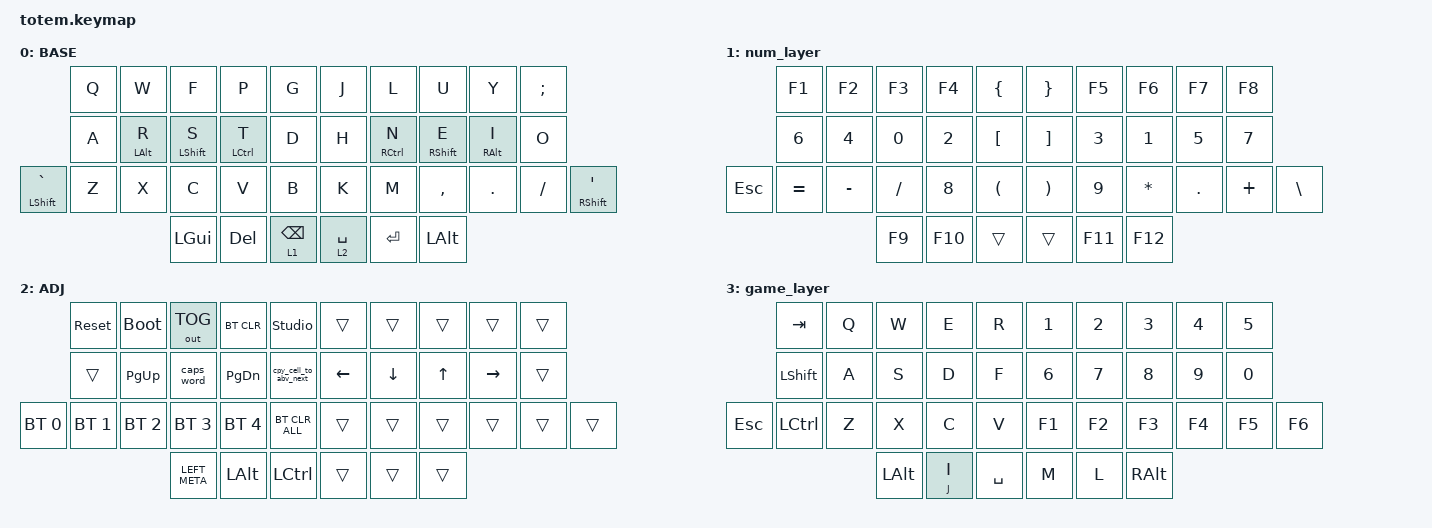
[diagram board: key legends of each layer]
//
//                                                        ▀▀▀▀▀     ▀▀▀▀▀          ▀▀█▀▀
//                                                        ▄▀▀▀▄  ▄  ▄▀▀▀▄  ▄  ▄▀▀▀▄  █  ▄▀▀▀▄
//                                                        █   █  █  █   █  █  █   █  █  █   █
//                                                         ▀▀▀   █   ▀▀▀   █   ▀▀▀   ▀   ▀▀▀
//                                                               █      ▄▄▄█▄▄▄    █   █  
//                                                               ▀      █  █  █     █▄█
//                                                             ▀▀▀▀▀    █  █  █      ▀
//                                                                      ▀  ▀  ▀
//
// ▄▄▄▄▄▄▄▄▄▄▄▄▄▄▄▄▄▄▄▄▄▄▄▄▄▄▄▄▄▄▄▄▄▄▄▄▄▄▄▄▄▄▄▄▄▄▄▄▄▄▄▄▄▄▄▄▄▄▄▄▄▄▄▄▄▄▄▄▄▄▄▄▄▄▄▄▄▄▄▄▄▄▄▄▄▄▄▄▄▄▄▄▄▄▄▄▄▄▄▄▄▄▄▄▄▄▄▄▄▄▄▄▄▄▄▄▄▄▄▄▄▄▄▄▄▄▄▄▄▄▄▄▄▄▄▄▄▄▄▄▄▄▄▄▄▄▄▄▄

#include <behaviors.dtsi>
#include <dt-bindings/zmk/bt.h>
#include <dt-bindings/zmk/keys.h>
#include <dt-bindings/zmk/outputs.h>

#define BASE 0
#define NAV  1
#define SYM  2
#define ADJ  3
#define L4   4
#define L5   5
#define L6   6

&mt {
    quick-tap-ms = <100>;
    flavor = "tap-preferred";
    tapping-term-ms = <150>;
};

/ {
    combos {
        compatible = "zmk,combos";

        combo_esc {
            timeout-ms = <50>;
            key-positions = <0 1>;
            bindings = <&kp ESC>;
            layers = <0 1>;
        };

        tab_comboL {
            bindings = <&kp TAB>;
            key-positions = <11 12>;
            layers = <0 1>;
        };

        tab_comboR {
            bindings = <&kp TAB>;
            key-positions = <17 18>;
            layers = <0 1>;
        };

        game_layer_toggle {
            bindings = <&tog 2>;
            key-positions = <32 37>;
            layers = <0 3>;
        };

        bace_combo {
            bindings = <&brace_block>;
            key-positions = <4 5>;
            timeout-ms = <30>;
            layers = <0>;
        };

        bracket_combo {
            bindings = <&bracket_block>;
            key-positions = <14 15>;
            layers = <0>;
            timeout-ms = <30>;
        };

        parenth_block {
            bindings = <&parenth_block>;
            key-positions = <25 26>;
            timeout-ms = <30>;
            layers = <0>;
        };

        base_1 {
            bindings = <&kp NUMBER_1>;
            key-positions = <0 10>;
            layers = <0>;
        };

        base_2 {
            bindings = <&kp NUMBER_2>;
            key-positions = <1 11>;
            layers = <0>;
        };

        base_3 {
            bindings = <&kp NUMBER_3>;
            key-positions = <2 12>;
            layers = <0>;
        };

        base_4 {
            bindings = <&kp NUMBER_4>;
            key-positions = <3 13>;
            layers = <0>;
        };

        base_5 {
            bindings = <&kp NUMBER_5>;
            key-positions = <14 4>;
            layers = <0>;
        };

        base_6 {
            bindings = <&kp NUMBER_6>;
            key-positions = <5 15>;
            layers = <0>;
        };

        base_7 {
            bindings = <&kp NUMBER_7>;
            key-positions = <6 16>;
            layers = <0>;
        };

        base_8 {
            bindings = <&kp NUMBER_8>;
            key-positions = <7 17>;
            layers = <0>;
        };

        base_9 {
            bindings = <&kp NUMBER_9>;
            key-positions = <18 8>;
            layers = <0>;
        };

        base_0 {
            bindings = <&kp NUMBER_0>;
            key-positions = <19 9>;
            layers = <0>;
        };

        base_copy {
            bindings = <&kp LC(C)>;
            key-positions = <10 11>;
            layers = <0>;
            require-prior-idle-ms = <100>;
            timeout-ms = <30>;
        };

        base_paste {
            bindings = <&kp LC(V)>;
            key-positions = <0 11>;
            layers = <0>;
            require-prior-idle-ms = <100>;
        };

        base_cut {
            bindings = <&kp LC(X)>;
            key-positions = <11 21>;
            layers = <0>;
            require-prior-idle-ms = <100>;
        };

        base_undo {
            bindings = <&kp LC(Z)>;
            key-positions = <22 23>;
            layers = <0>;
        };

        base_redo {
            bindings = <&kp LC(Y)>;
            key-positions = <22 24>;
            layers = <0>;
        };

        spreadsheet_del_col {
            bindings = <&spreadsheet_del_col>;
            key-positions = <15 26>;
            layers = <0>;
        };

        spreadsheet_del_row {
            bindings = <&spreadsheet_del_row>;
            key-positions = <26 27>;
            layers = <0>;
        };

        spreadsheet_ins_col {
            bindings = <&spreadsheet_ins_col>;
            key-positions = <16 27>;
            layers = <0>;
        };

        spreadsheet_ins_row {
            bindings = <&spreadsheet_ins_row>;
            key-positions = <27 28>;
            layers = <0>;
        };

        spreadsheet_hide_col {
            bindings = <&kp LC(NUMBER_0)>;
            key-positions = <17 28>;
            layers = <0>;
        };

        spreadsheet_hide_row {
            bindings = <&kp LC(N9)>;
            key-positions = <28 29>;
            layers = <0>;
        };

        base_hyphen {
            bindings = <&kp MINUS>;
            key-positions = <8 9>;
        };
    };

    macros {
        gif: gif {
            label = "giphy";
            compatible = "zmk,behavior-macro";
            #binding-cells = <0>;
            bindings =
                <&macro_press>,
                <&kp LSHFT>,
                <&macro_tap>,
                <&kp N2>,
                <&macro_release>,
                <&kp LSHFT>,
                <&macro_tap>,
                <&kp G &kp I &kp F>;
        };

        cpy_cell_to_abv_next: copy_cell_to_above_next {
            compatible = "zmk,behavior-macro";
            #binding-cells = <0>;
            bindings =
                <&macro_tap>,
                <&kp LC(C) &kp UP_ARROW &kp LC(V) &kp RIGHT &kp DOWN>;

            label = "COPY_CELL_TO_ABOVE_NEXT";
        };

        parenth_block: auto_parenth {
            compatible = "zmk,behavior-macro";
            #binding-cells = <0>;
            bindings =
                <&macro_tap>,
                <&kp LEFT_PARENTHESIS &kp RIGHT_PARENTHESIS &kp LEFT>;

            label = "AUTO_PARENTH";
        };

        bracket_block: bracket_block {
            compatible = "zmk,behavior-macro";
            #binding-cells = <0>;
            bindings =
                <&macro_tap>,
                <&kp LEFT_BRACKET &kp RIGHT_BRACKET &kp LEFT>;

            label = "BRACKET_BLOCK";
        };

        brace_block: brace_block {
            compatible = "zmk,behavior-macro";
            #binding-cells = <0>;
            bindings = <&macro_tap>, <&kp LEFT_BRACE &kp RIGHT_BRACE &kp LEFT>;

            label = "BRACE_BLOCK";
        };

        spreadsheet_del_col: spreadsheet_del_col {
            compatible = "zmk,behavior-macro";
            #binding-cells = <0>;
            bindings =
                <&macro_press>,
                <&kp LEFT_CONTROL>,
                <&macro_tap>,
                <&kp SPACE &kp MINUS>,
                <&macro_release>,
                <&kp LEFT_CONTROL>;

            label = "SPREADSHEET_DEL_COL";
        };

        spreadsheet_del_row: spreadsheet_del_row {
            compatible = "zmk,behavior-macro";
            #binding-cells = <0>;
            bindings =
                <&macro_press>,
                <&kp LEFT_SHIFT>,
                <&macro_tap>,
                <&kp SPACE &kp MINUS>,
                <&macro_release>,
                <&kp LEFT_SHIFT>;

            label = "SPREADSHEET_DEL_ROW";
        };

        spreadsheet_ins_col: spreadsheet_ins_col {
            compatible = "zmk,behavior-macro";
            #binding-cells = <0>;
            bindings =
                <&macro_press>,
                <&kp LEFT_CONTROL>,
                <&macro_tap>,
                <&kp SPACE &kp PLUS>,
                <&macro_release>,
                <&kp LEFT_CONTROL>;

            label = "SPREADSHEET_INS_COL";
        };

        spreadsheet_ins_row: spreadsheet_ins_row {
            compatible = "zmk,behavior-macro";
            #binding-cells = <0>;
            bindings =
                <&macro_press>,
                <&kp LEFT_SHIFT>,
                <&macro_tap>,
                <&kp SPACE &kp PLUS>,
                <&macro_release>,
                <&kp LEFT_SHIFT>;

            label = "SPREADSHEET_INS_ROW";
        };
    };

    keymap {
        compatible = "zmk,keymap";

        // ▄▄▄▄▄▄▄▄▄▄▄▄▄▄▄▄▄▄▄▄▄▄▄▄▄▄▄▄▄▄▄▄▄▄▄▄▄▄▄▄▄▄▄▄▄▄▄▄▄▄▄▄▄▄▄▄▄▄▄▄▄▄▄▄▄▄▄▄▄▄▄▄▄▄▄▄▄▄▄▄▄▄▄▄▄▄▄▄▄▄▄▄▄▄▄▄▄▄▄▄▄▄▄▄▄▄▄▄▄▄▄▄▄▄▄▄▄▄▄▄▄▄▄▄▄▄▄▄▄▄▄▄▄▄▄▄▄▄▄▄▄▄▄▄▄▄▄▄▄

        base_layer {
            // ┏━━━━━━━━━━━━━━━━━━━━━━━━━━━━━━━━━━━━━━━┓

            label = "BASE";

            // ┗━━━━━━━━━━━━━━━━━━━━━━━━━━━━━━━━━━━━━━━┛
            //             ┏━━━━━━━━━━━┳━━━━━━━━━━━┳━━━━━━━━━━━┳━━━━━━━━━━━┳━━━━━━━━━━━┓   ┏━━━━━━━━━━━┳━━━━━━━━━━━┳━━━━━━━━━━━┳━━━━━━━━━━━┳━━━━━━━━━━━┓
            //             ┃     Q     ┃     W     ┃     F     ┃     P     ┃     G     ┃   ┃     J     ┃     L     ┃     U     ┃     Y     ┃     ;     ┃
            //             ┣━━━━━━━━━━━╋━━━━━━━━━━━╋━━━━━━━━━━━╋━━━━━━━━━━━╋━━━━━━━━━━━┫   ┣━━━━━━━━━━━╋━━━━━━━━━━━╋━━━━━━━━━━━╋━━━━━━━━━━━╋━━━━━━━━━━━┫
            //             ┃     A     ┃     R     ┃     S     ┃     T     ┃     D     ┃   ┃     H     ┃     N     ┃     E     ┃     I     ┃     O     ┃
            // ┏━━━━━━━━━━━╋━━━━━━━━━━━╋━━━━━━━━━━━╋━━━━━━━━━━━╋━━━━━━━━━━━╋━━━━━━━━━━━┫   ┣━━━━━━━━━━━╋━━━━━━━━━━━╋━━━━━━━━━━━╋━━━━━━━━━━━╋━━━━━━━━━━━╋━━━━━━━━━━━┓
            // ┃           ┃     Z     ┃     X     ┃     C     ┃     V     ┃     B     ┃   ┃     K     ┃     M     ┃     ,     ┃     .     ┃     /     ┃           ┃
            // ┗━━━━━━━━━━━┻━━━━━━━━━━━┻━━━━━━━━━━━╋━━━━━━━━━━━╋━━━━━━━━━━━╋━━━━━━━━━━━┫   ┣━━━━━━━━━━━╋━━━━━━━━━━━╋━━━━━━━━━━━╋━━━━━━━━━━━┻━━━━━━━━━━━┻━━━━━━━━━━━┛
            //                                     ┃           ┃    TAB    ┃    SPC    ┃   ┃   ENTER   ┃   BSPC    ┃           ┃
            //                                     ┗━━━━━━━━━━━┻━━━━━━━━━━━┻━━━━━━━━━━━┛   ┗━━━━━━━━━━━┻━━━━━━━━━━━┻━━━━━━━━━━━┛

            bindings = <
                      &kp Q  &kp W       &kp F             &kp P        &kp G              &kp J        &kp L        &kp U         &kp Y       &kp SEMICOLON
                      &kp A  &mt LALT R  &mt LEFT_SHIFT S  &mt LCTRL T  &kp D              &kp H        &mt RCTRL N  &mt RSHIFT E  &mt RALT I  &kp O
&mt LEFT_SHIFT GRAVE  &kp Z  &kp X       &kp C             &kp V        &kp B              &kp K        &kp M        &kp COMMA     &kp DOT     &kp SLASH      &mt RSHIFT APOSTROPHE
                                         &kp LEFT_GUI      &kp DELETE   &lt 1 BACKSPACE    &lt 2 SPACE  &kp RETURN   &kp LEFT_ALT
            >;
        };

        num_layer {
            bindings = <
         &kp F1     &kp F2     &kp F3    &kp F4   &kp LEFT_BRACE          &kp RIGHT_BRACE        &kp F5   &kp F6        &kp F7   &kp F8
         &kp N6     &kp N4     &kp N0    &kp N2   &kp LEFT_BRACKET        &kp RIGHT_BRACKET      &kp N3   &kp N1        &kp N5   &kp N7
&kp ESC  &kp EQUAL  &kp MINUS  &kp FSLH  &kp N8   &kp LEFT_PARENTHESIS    &kp RIGHT_PARENTHESIS  &kp N9   &kp ASTERISK  &kp DOT  &kp PLUS  &kp BSLH
                               &kp F9    &kp F10  &trans                  &trans                 &kp F11  &kp F12
            >;
        };

        adjust_layer {
            // ┏━━━━━━━━━━━━━━━━━━━━━━━━━━━━━━━━━━━━━━━┓

            label = "ADJ";

            // ┗━━━━━━━━━━━━━━━━━━━━━━━━━━━━━━━━━━━━━━━┛
            //             ┏━━━━━━━━━━━┳━━━━━━━━━━━┳━━━━━━━━━━━┳━━━━━━━━━━━┳━━━━━━━━━━━┓   ┏━━━━━━━━━━━┳━━━━━━━━━━━┳━━━━━━━━━━━┳━━━━━━━━━━━┳━━━━━━━━━━━┓
            //             ┃   RESET   ┃ BT CLEAR  ┃  OUT TOG  ┃           ┃  STUDIO   ┃   ┃           ┃    F7     ┃    F8     ┃    F9     ┃    F12    ┃
            //             ┣━━━━━━━━━━━╋━━━━━━━━━━━╋━━━━━━━━━━━╋━━━━━━━━━━━╋━━━━━━━━━━━┫   ┣━━━━━━━━━━━╋━━━━━━━━━━━╋━━━━━━━━━━━╋━━━━━━━━━━━╋━━━━━━━━━━━┫
            //             ┃ BOOTLOAD  ┃ BT NEXT   ┃           ┃           ┃           ┃   ┃           ┃    F4     ┃    F5     ┃    F6     ┃    F11    ┃
            // ┏━━━━━━━━━━━╋━━━━━━━━━━━╋━━━━━━━━━━━╋━━━━━━━━━━━╋━━━━━━━━━━━╋━━━━━━━━━━━┫   ┣━━━━━━━━━━━╋━━━━━━━━━━━╋━━━━━━━━━━━╋━━━━━━━━━━━╋━━━━━━━━━━━╋━━━━━━━━━━━┓
            // ┃           ┃           ┃ BT PREV   ┃           ┃           ┃           ┃   ┃           ┃    F1     ┃    F2     ┃    F3     ┃    F10    ┃           ┃
            // ┗━━━━━━━━━━━┻━━━━━━━━━━━┻━━━━━━━━━━━╋━━━━━━━━━━━╋━━━━━━━━━━━╋━━━━━━━━━━━┫   ┣━━━━━━━━━━━╋━━━━━━━━━━━╋━━━━━━━━━━━╋━━━━━━━━━━━┻━━━━━━━━━━━┻━━━━━━━━━━━┛
            //                                     ┃           ┃           ┃           ┃   ┃           ┃           ┃           ┃
            //                                     ┗━━━━━━━━━━━┻━━━━━━━━━━━┻━━━━━━━━━━━┛   ┗━━━━━━━━━━━┻━━━━━━━━━━━┻━━━━━━━━━━━┛

            bindings = <
              &sys_reset    &bootloader   &out OUT_TOG   &bt BT_CLR     &studio_unlock           &trans    &trans    &trans  &trans     &trans
              &trans        &kp PAGE_UP   &caps_word     &kp PAGE_DOWN  &cpy_cell_to_abv_next    &kp LEFT  &kp DOWN  &kp UP  &kp RIGHT  &trans
&bt BT_SEL 0  &bt BT_SEL 1  &bt BT_SEL 2  &bt BT_SEL 3   &bt BT_SEL 4   &bt BT_CLR_ALL           &trans    &trans    &trans  &trans     &trans  &trans
                                          &kp LEFT_META  &kp LEFT_ALT   &kp LEFT_CONTROL         &trans    &trans    &trans
            >;
        };

        game_layer {
            bindings = <
         &kp TAB    &kp Q  &kp W     &kp E    &kp R        &kp N1  &kp N2  &kp N3    &kp N4  &kp N5
         &kp LSHFT  &kp A  &kp S     &kp D    &kp F        &kp N6  &kp N7  &kp N8    &kp N9  &kp N0
&kp ESC  &kp LCTRL  &kp Z  &kp X     &kp C    &kp V        &kp F1  &kp F2  &kp F3    &kp F4  &kp F5  &kp F6
                           &kp LALT  &mt J I  &kp SPACE    &kp M   &kp L   &kp RALT
            >;
        };
    };
};
